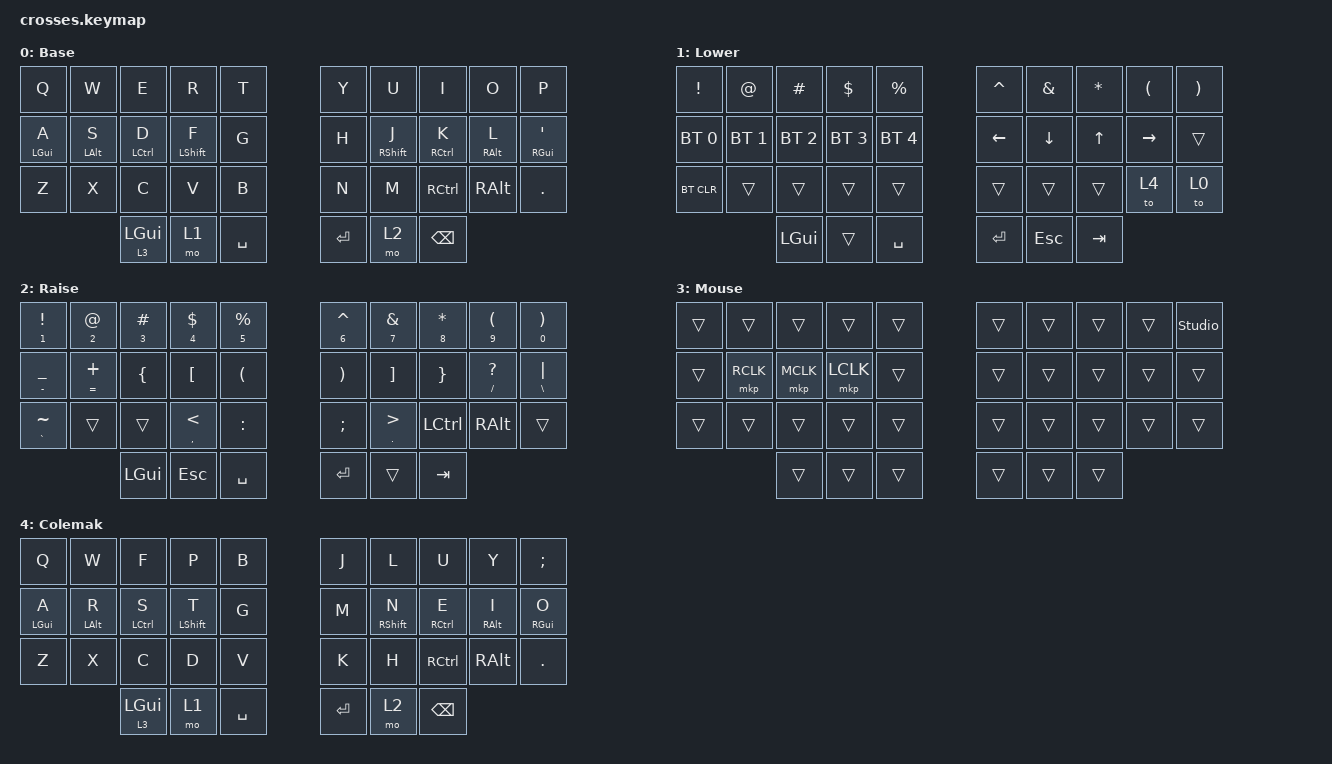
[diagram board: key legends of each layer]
#include <behaviors.dtsi>
#include <dt-bindings/zmk/bt.h>
#include <dt-bindings/zmk/keys.h>
#include <dt-bindings/zmk/pointing.h>

/ {
    chosen { zmk,physical-layout = &gggw_crosses_36_layout; };

    behaviors {
        // Auto-shift: only used on the raise symbol/number layer (tap = number,
        // hold = symbol). Not used on the alpha layers, where home-row mods live.
        as: auto_shift {
            compatible = "zmk,behavior-hold-tap";
            #binding-cells = <2>;
            tapping_term_ms = <200>;
            quick_tap_ms = <0>;
            flavor = "tap-preferred";
            bindings = <&kp>, <&kp>;
        };

        // Home-row mods (GACS). Positional: a mod only triggers when the next
        // key is on the OPPOSITE hand, preventing same-hand rolls from firing
        // mods. Timing is the urob/timeless style.
        hml: home_row_mod_left {
            compatible = "zmk,behavior-hold-tap";
            #binding-cells = <2>;
            flavor = "balanced";
            tapping-term-ms = <200>;
            quick-tap-ms = <175>;
            require-prior-idle-ms = <150>;
            bindings = <&kp>, <&kp>;
            hold-trigger-key-positions = <5 6 7 8 9 15 16 17 18 19 25 26 27 28 29 33 34 35>;
            hold-trigger-on-release;
        };
        hmr: home_row_mod_right {
            compatible = "zmk,behavior-hold-tap";
            #binding-cells = <2>;
            flavor = "balanced";
            tapping-term-ms = <200>;
            quick-tap-ms = <175>;
            require-prior-idle-ms = <150>;
            bindings = <&kp>, <&kp>;
            hold-trigger-key-positions = <0 1 2 3 4 10 11 12 13 14 20 21 22 23 24 30 31 32>;
            hold-trigger-on-release;
        };
    };

    macros {
        // U.S. International PC: " (dead key) + vowel = umlaut; AltGr+s = ß
        de_ae: de_ae {
            compatible = "zmk,behavior-macro";
            #binding-cells = <0>;
            bindings = <&kp DQT &kp A>;
        };
        de_oe: de_oe {
            compatible = "zmk,behavior-macro";
            #binding-cells = <0>;
            bindings = <&kp DQT &kp O>;
        };
        de_ue: de_ue {
            compatible = "zmk,behavior-macro";
            #binding-cells = <0>;
            bindings = <&kp DQT &kp U>;
        };
        de_ss: de_ss {
            compatible = "zmk,behavior-macro";
            #binding-cells = <0>;
            bindings = <&kp RA(S)>;
        };
    };

    combos {
        compatible = "zmk,combos";

        // ä = A + neighbour (same positions on QWERTY and Colemak)
        combo_ae {
            timeout-ms = <50>;
            key-positions = <10 11>;
            bindings = <&de_ae>;
            layers = <0 4>;
        };

        // QWERTY (layer 0)
        combo_oe_q {
            timeout-ms = <50>;
            key-positions = <7 8>;    // I + O
            bindings = <&de_oe>;
            layers = <0>;
        };
        combo_ue_q {
            timeout-ms = <50>;
            key-positions = <5 6>;    // Y + U
            bindings = <&de_ue>;
            layers = <0>;
        };
        combo_ss_q {
            timeout-ms = <50>;
            key-positions = <11 12>;  // S + D
            bindings = <&de_ss>;
            layers = <0>;
        };

        // Colemak (layer 4)
        combo_oe_c {
            timeout-ms = <50>;
            key-positions = <18 19>;  // I + O
            bindings = <&de_oe>;
            layers = <4>;
        };
        combo_ue_c {
            timeout-ms = <50>;
            key-positions = <7 8>;    // U + Y
            bindings = <&de_ue>;
            layers = <4>;
        };
        combo_ss_c {
            timeout-ms = <50>;
            key-positions = <12 13>;  // S + T
            bindings = <&de_ss>;
            layers = <4>;
        };
    };

    keymap {
        compatible = "zmk,keymap";

        default_layer {
            display-name = "Base";
            bindings = <
&kp Q          &kp W          &kp E           &kp R          &kp T        &kp Y     &kp U          &kp I          &kp O          &kp P
&hml LGUI A    &hml LALT S    &hml LCTRL D    &hml LSHFT F   &kp G        &kp H     &hmr RSHFT J   &hmr RCTRL K   &hmr RALT L    &hmr RGUI SQT
&kp Z          &kp X          &kp C           &kp V          &kp B        &kp N     &kp M          &kp RCTRL      &kp RALT       &kp DOT
                              &lt 3 LEFT_GUI  &mo 1          &kp SPACE    &kp RET   &mo 2          &kp BSPC
            >;
        };

        lower_layer {
            display-name = "Lower";
            bindings = <
&kp EXCL      &kp AT        &kp HASH      &kp DLLR      &kp PRCNT     &kp CARET  &kp AMPS  &kp ASTRK  &kp LPAR   &kp RPAR
&bt BT_SEL 0  &bt BT_SEL 1  &bt BT_SEL 2  &bt BT_SEL 3  &bt BT_SEL 4  &kp LEFT   &kp DOWN  &kp UP           &kp RIGHT  &trans
&bt BT_CLR    &trans        &trans        &trans        &trans        &trans     &trans    &trans           &to 4      &to 0
                            &kp LGUI      &trans        &kp SPACE     &kp RET    &kp ESC   &kp TAB
            >;
        };

        raise_layer {
            display-name = "Raise";
            bindings = <
&as N1 EXCL      &as N2 AT       &as N3 HASH  &as N4 DOLLAR        &as N5 PERCENT  &as N6 CARET  &as N7 AMPS           &as N8 ASTRK  &as N9 LEFT_PARENTHESIS  &as N0 RIGHT_PARENTHESIS
&as MINUS UNDER  &as EQUAL PLUS  &kp LBRC     &kp LBKT             &kp LPAR        &kp RPAR      &kp RBKT              &kp RBRC      &as FSLH QUESTION        &as BSLH PIPE
&as GRAVE TILDE  &trans          &trans       &as COMMA LESS_THAN  &kp COLON       &kp SEMI      &as DOT GREATER_THAN  &kp LCTRL     &kp RALT                 &trans
                                 &kp LGUI     &kp ESC              &kp SPACE       &kp RET       &trans                &kp TAB
            >;
        };

        mouse_layer {
            display-name = "Mouse";
            bindings = <
&trans  &trans     &trans     &trans     &trans  &trans  &trans  &trans  &trans  &studio_unlock
&trans  &mkp RCLK  &mkp MCLK  &mkp LCLK  &trans  &trans  &trans  &trans  &trans  &trans
&trans  &trans     &trans     &trans     &trans  &trans  &trans  &trans  &trans  &trans
                   &trans     &trans     &trans  &trans  &trans  &trans
            >;
        };

        colemak_layer {
            display-name = "Colemak";
            bindings = <
&kp Q          &kp W          &kp F           &kp P          &kp B        &kp J     &kp L          &kp U          &kp Y          &kp SEMI
&hml LGUI A    &hml LALT R    &hml LCTRL S    &hml LSHFT T   &kp G        &kp M     &hmr RSHFT N   &hmr RCTRL E   &hmr RALT I    &hmr RGUI O
&kp Z          &kp X          &kp C           &kp D          &kp V        &kp K     &kp H          &kp RCTRL      &kp RALT       &kp DOT
                              &lt 3 LEFT_GUI  &mo 1          &kp SPACE    &kp RET   &mo 2          &kp BSPC
            >;
        };
    };
};

// Auto-activate the mouse layer (3) while the right trackball moves, so the
// mouse buttons on that layer are available without holding a layer key.
// Keep the shield's report-rate-limit processor. Timeout in ms is tunable.
&trackball_central_listener {
    input-processors = <&zip_ble_report_rate_limit>, <&zip_temp_layer 3 250>;
};
